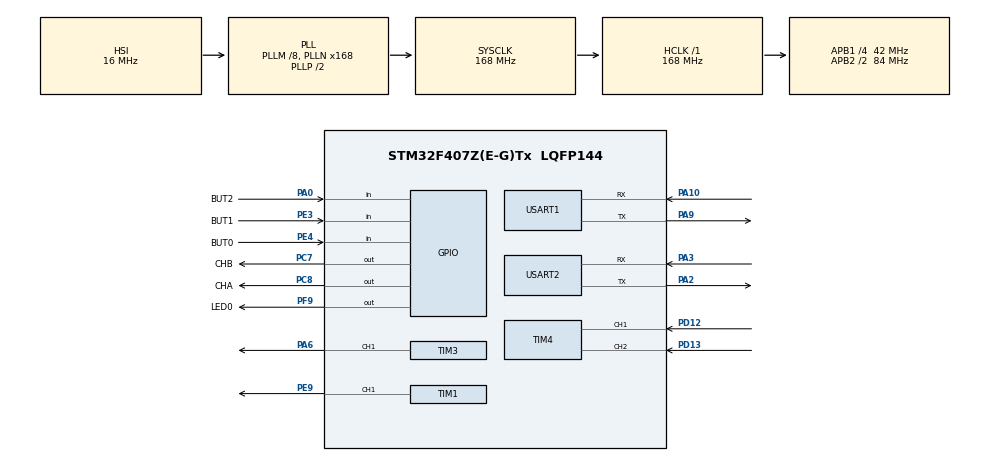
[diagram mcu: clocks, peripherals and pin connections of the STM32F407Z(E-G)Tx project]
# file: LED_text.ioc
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Dma.Request0=USART1_RX
Dma.USART1_RX.0.Direction=DMA_PERIPH_TO_MEMORY
Dma.USART1_RX.0.FIFOMode=DMA_FIFOMODE_DISABLE
Dma.USART1_RX.0.Instance=DMA2_Stream2
Dma.USART1_RX.0.MemDataAlignment=DMA_MDATAALIGN_BYTE
Dma.USART1_RX.0.MemInc=DMA_MINC_ENABLE
Dma.USART1_RX.0.Mode=DMA_CIRCULAR
Dma.USART1_RX.0.PeriphDataAlignment=DMA_PDATAALIGN_BYTE
Dma.USART1_RX.0.PeriphInc=DMA_PINC_DISABLE
Dma.USART1_RX.0.Priority=DMA_PRIORITY_LOW
Mcu.Family=STM32F4
Mcu.Name=STM32F407Z(E-G)Tx
Mcu.Package=LQFP144
NVIC.DMA2_Stream2_IRQn=true\:0\:0\:true\:false\:true\:false\:true
NVIC.PriorityGroup=NVIC_PRIORITYGROUP_4
NVIC.TIM2_IRQn=true\:0\:0\:true\:false\:true\:true\:true
NVIC.TIM4_IRQn=true\:0\:0\:false\:false\:true\:true\:true
NVIC.USART1_IRQn=true\:0\:0\:true\:false\:true\:true\:true
PA0-WKUP.GPIO_Label=BUT2
PA0-WKUP.GPIO_PuPd=GPIO_PULLDOWN
PA0-WKUP.Signal=GPIO_Input
PA10.Mode=Asynchronous
PA10.Signal=USART1_RX
PA13.Mode=Serial_Wire
PA13.Signal=SYS_JTMS-SWDIO
PA14.Mode=Serial_Wire
PA14.Signal=SYS_JTCK-SWCLK
PA2.Mode=Asynchronous
PA2.Signal=USART2_TX
PA3.Mode=Asynchronous
PA3.Signal=USART2_RX
PA6.Signal=S_TIM3_CH1
PA9.Mode=Asynchronous
PA9.Signal=USART1_TX
PC14-OSC32_IN.Mode=LSE-External-Oscillator
PC14-OSC32_IN.Signal=RCC_OSC32_IN
PC15-OSC32_OUT.Mode=LSE-External-Oscillator
PC15-OSC32_OUT.Signal=RCC_OSC32_OUT
PC7.GPIO_Label=CHB
PC7.GPIO_Speed=GPIO_SPEED_FREQ_MEDIUM
PC7.PinState=GPIO_PIN_SET
PC7.Signal=GPIO_Output
PC8.GPIO_Label=CHA
PC8.GPIO_ModeDefaultOutputPP=GPIO_MODE_OUTPUT_PP
PC8.GPIO_Speed=GPIO_SPEED_FREQ_MEDIUM
PC8.PinState=GPIO_PIN_SET
PC8.Signal=GPIO_Output
PD12.Signal=S_TIM4_CH1
PD13.Signal=S_TIM4_CH2
PE3.GPIO_Label=BUT1
PE3.GPIO_PuPd=GPIO_PULLUP
PE3.Signal=GPIO_Input
PE4.GPIO_Label=BUT0
PE4.GPIO_PuPd=GPIO_PULLUP
PE4.Signal=GPIO_Input
PE9.Signal=S_TIM1_CH1
PF9.GPIO_Label=LED0
PF9.GPIO_ModeDefaultOutputPP=GPIO_MODE_OUTPUT_PP
PF9.GPIO_PuPd=GPIO_NOPULL
PF9.GPIO_Speed=GPIO_SPEED_FREQ_MEDIUM
PF9.PinState=GPIO_PIN_SET
PF9.Signal=GPIO_Output
PH0-OSC_IN.Mode=HSE-External-Oscillator
PH0-OSC_IN.Signal=RCC_OSC_IN
PH1-OSC_OUT.Mode=HSE-External-Oscillator
PH1-OSC_OUT.Signal=RCC_OSC_OUT
ProjectManager.HeapSize=0x200
ProjectManager.StackSize=0x400
ProjectManager.TargetToolchain=SW4STM32
RCC.48MHZClocksFreq_Value=84000000
RCC.AHBFreq_Value=168000000
RCC.APB1CLKDivider=RCC_HCLK_DIV4
RCC.APB1Freq_Value=42000000
RCC.APB1TimFreq_Value=84000000
RCC.APB2CLKDivider=RCC_HCLK_DIV2
RCC.APB2Freq_Value=84000000
RCC.APB2TimFreq_Value=168000000
RCC.CortexFreq_Value=168000000
RCC.HCLKFreq_Value=168000000
RCC.HSE_VALUE=25000000
RCC.HSI_VALUE=16000000
RCC.PLLM=8
RCC.PLLN=168
RCC.SYSCLKFreq_VALUE=168000000
RCC.SYSCLKSource=RCC_SYSCLKSOURCE_PLLCLK
RCC.VCOOutputFreq_Value=336000000
SH.S_TIM1_CH1.0=TIM1_CH1,PWM Generation1 CH1
SH.S_TIM3_CH1.0=TIM3_CH1,PWM Generation1 CH1
SH.S_TIM4_CH1.0=TIM4_CH1,Encoder_Interface
SH.S_TIM4_CH2.0=TIM4_CH2,Encoder_Interface
TIM1.AutoReloadPreload=TIM_AUTORELOAD_PRELOAD_DISABLE
TIM1.Channel-PWM\ Generation1\ CH1=TIM_CHANNEL_1
TIM1.Period=99
TIM1.Prescaler=167
TIM2.AutoReloadPreload=TIM_AUTORELOAD_PRELOAD_ENABLE
TIM2.Period=9999
TIM2.Prescaler=167
TIM3.AutoReloadPreload=TIM_AUTORELOAD_PRELOAD_ENABLE
TIM3.Channel-PWM\ Generation1\ CH1=TIM_CHANNEL_1
TIM3.OCPolarity_1=TIM_OCPOLARITY_HIGH
TIM3.Period=19999
TIM3.Prescaler=83
USART1.VirtualMode=VM_ASYNC
USART2.VirtualMode=VM_ASYNC
VP_TIM1_VS_ClockSourceINT.Mode=Internal
VP_TIM2_VS_ClockSourceINT.Mode=Internal
VP_TIM3_VS_ClockSourceINT.Mode=Internal
board=custom

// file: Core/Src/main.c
/* USER CODE BEGIN Header */
/**
  ******************************************************************************
  * @file           : main.c
  * @brief          : Main program body
  ******************************************************************************
  * @attention
  *
  * <h2><center>&copy; Copyright (c) 2021 STMicroelectronics.
  * All rights reserved.</center></h2>
  *
  * This software component is licensed by ST under BSD 3-Clause license,
  * the "License"; You may not use this file except in compliance with the
  * License. You may obtain a copy of the License at:
  *                        opensource.org/licenses/BSD-3-Clause
  *
  ******************************************************************************
  */
/* USER CODE END Header */
#include "main.h"
#include "dma.h"
#include "tim.h"
#include "usart.h"
#include "gpio.h"

/* USER CODE BEGIN Includes */
#include "stdio.h"
#include "math.h"
#include "../MOVE/MOVE.h"
/* USER CODE END Includes */

/* USER CODE BEGIN PD */
#define BUFFER_SIZE_MAX 255 //串口最大接收长度

/* USER CODE END PD */

/* USER CODE BEGIN PM */
uint8_t receive_buff[BUFFER_SIZE_MAX];
uint8_t mode = 0;//接收模式(手机1或者野火0)
uint8_t data_buff[6];
uint8_t fire_buff[32];
float PID_Kp = 0,PID_Kd = 0,PID_Ki = 0;
struct  Move_cfg move_cfg;

/* USER CODE END PM */

/* USER CODE BEGIN PV */
//uint32_t adc_ch1[3];
//uint16_t adc_buff[3];

uint8_t MotorVal;  //电机速度
uint8_t Mg995Val;  //舵机位置
int MotorSpeed;  // 电机当前速度数值，从编码器中获取
/* USER CODE END PV */

void SystemClock_Config(void);

/* USER CODE BEGIN 0 */
//void Servo_init()
//{
//
//}

void mg995_Control(uint16_t val)
{

    uint16_t temp;
    temp = 501 +val*20;//500~2500 ~= 2~84
    if(val>=0)
    __HAL_TIM_SET_COMPARE(&htim3, TIM_CHANNEL_1, temp);
}

/* USER CODE END 0 */

int main(void)
{

  /* MCU Configuration--------------------------------------------------------*/

  /* Reset of all peripherals, Initializes the Flash interface and the Systick. */
  HAL_Init();

  /* Configure the system clock */
  SystemClock_Config();

  /* USER CODE BEGIN SysInit */
  MX_DMA_Init();
  /* USER CODE END SysInit */

  /* Initialize all configured peripherals */
  MX_GPIO_Init();
  MX_USART1_UART_Init();
  MX_TIM1_Init();
  MX_TIM2_Init();
  MX_DMA_Init();
  MX_TIM4_Init();
  MX_TIM3_Init();
  MX_USART2_UART_Init();
  /* USER CODE BEGIN 2 */
    uint8_t But_flag = 0;

    __HAL_UART_ENABLE_IT(&huart1, UART_IT_IDLE); // 使能串口空闲中断
    HAL_UART_Receive_DMA(&huart1, (uint8_t *) receive_buff, BUFFER_SIZE_MAX);//开始DMA传输 每次255字节数据

    //HAL_ADC_Start_DMA(&hadc1,adc_ch1,3);
    HAL_TIM_PWM_Start(&htim1, TIM_CHANNEL_1);        // 开启PWM 1         使用APB2(168M)
    HAL_TIM_PWM_Start(&htim1, TIM_CHANNEL_2);        // 开启PWM 2         使用APB2(168M)
    HAL_TIM_Encoder_Start(&htim4, TIM_CHANNEL_1);   //  开启编码器A        使用APB1(84M)
    HAL_TIM_Encoder_Start(&htim4, TIM_CHANNEL_2);   // 开启编码器B         使用APB1(84M)
    HAL_TIM_Base_Start_IT(&htim2);                  // 使能定时器2中断      使用APB1(84M)
    HAL_TIM_PWM_Start(&htim3,TIM_CHANNEL_1);        //使能定时器3中断       使用APB1(84M)
    __HAL_TIM_SET_COMPARE(&htim1, TIM_CHANNEL_1, 50);
    __HAL_TIM_SET_COMPARE(&htim3, TIM_CHANNEL_1, 0);
//    HAL_ADC_Start(&hadc1);
//    HAL_ADC_PollForConversion(&hadc1,50);
  /* USER CODE END 2 */

  /* Infinite loop */
  /* USER CODE BEGIN WHILE */
    MotorVal = 50;
    mg995_Control(50);
    move_cfg.err_log = 255;
    while (1) {
    /* USER CODE END WHILE */

    /* USER CODE BEGIN 3 */
    if(mode)/*mode == 1     手机端*/
    {
        move_cfg = Move_Set(data_buff, move_cfg);
        if(move_cfg.power_set)
            if (!move_cfg.err_log) //如果正常
            {
                if (move_cfg.motor_set != MotorVal)
                    MotorVal = move_cfg.motor_set;
                if (move_cfg.mg995_set != Mg995Val) {
                    Mg995Val = move_cfg.mg995_set;
                    mg995_Control(Mg995Val);
                }
            }
        Ble_send(move_cfg);
    }//mode==0,野火端
    else{
        move_cfg = fire_Set(fire_buff,move_cfg);
        if(!move_cfg.err_log)//如果正常
        {
            if (move_cfg.motor_set != MotorVal)
                MotorVal = move_cfg.motor_set;
            if (move_cfg.mg995_set != Mg995Val) {
                Mg995Val = move_cfg.mg995_set;
                mg995_Control(Mg995Val);
            }
        }
        fire_send(move_cfg,1);
    }

    //else if(1);//停止调试
//    else switch (move_cfg.err_log) {
//            case 1: printf("无数据\\n");break;
//            case 2: printf("未选择设备\n");break;
//        }
    }
  /* USER CODE END 3 */
}

void SystemClock_Config(void)
{
  RCC_OscInitTypeDef RCC_OscInitStruct = {0};
  RCC_ClkInitTypeDef RCC_ClkInitStruct = {0};

  /** Configure the main internal regulator output voltage
  */
  __HAL_RCC_PWR_CLK_ENABLE();
  __HAL_PWR_VOLTAGESCALING_CONFIG(PWR_REGULATOR_VOLTAGE_SCALE1);
  /** Initializes the RCC Oscillators according to the specified parameters
  * in the RCC_OscInitTypeDef structure.
  */
  RCC_OscInitStruct.OscillatorType = RCC_OSCILLATORTYPE_HSI;
  RCC_OscInitStruct.HSIState = RCC_HSI_ON;
  RCC_OscInitStruct.HSICalibrationValue = RCC_HSICALIBRATION_DEFAULT;
  RCC_OscInitStruct.PLL.PLLState = RCC_PLL_ON;
  RCC_OscInitStruct.PLL.PLLSource = RCC_PLLSOURCE_HSI;
  RCC_OscInitStruct.PLL.PLLM = 8;
  RCC_OscInitStruct.PLL.PLLN = 168;
  RCC_OscInitStruct.PLL.PLLP = RCC_PLLP_DIV2;
  RCC_OscInitStruct.PLL.PLLQ = 4;
  if (HAL_RCC_OscConfig(&RCC_OscInitStruct) != HAL_OK)
  {
    Error_Handler();
  }
  /** Initializes the CPU, AHB and APB buses clocks
  */
  RCC_ClkInitStruct.ClockType = RCC_CLOCKTYPE_HCLK|RCC_CLOCKTYPE_SYSCLK
                              |RCC_CLOCKTYPE_PCLK1|RCC_CLOCKTYPE_PCLK2;
  RCC_ClkInitStruct.SYSCLKSource = RCC_SYSCLKSOURCE_PLLCLK;
  RCC_ClkInitStruct.AHBCLKDivider = RCC_SYSCLK_DIV1;
  RCC_ClkInitStruct.APB1CLKDivider = RCC_HCLK_DIV4;
  RCC_ClkInitStruct.APB2CLKDivider = RCC_HCLK_DIV2;

  if (HAL_RCC_ClockConfig(&RCC_ClkInitStruct, FLASH_LATENCY_5) != HAL_OK)
  {
    Error_Handler();
  }
}

/* USER CODE BEGIN 4 */
void USAR_UART_IDLECallback(UART_HandleTypeDef *huart)
{
    HAL_UART_DMAStop(&huart1);//停止本次DMA传输
    uint8_t data_length = BUFFER_SIZE_MAX - __HAL_DMA_GET_COUNTER(&hdma_usart1_rx);   //计算接收到的数据长度
    uint8_t Ble_len = 23;
    for (int i = 0; i < data_length; i++)
    {
        //手机蓝牙调试器接收模式
        if((data_length >= Ble_len-1) && (receive_buff[i] == 0x5A)){
            if( (receive_buff[i+1-Ble_len]) == 0xA5){
                uint8_t jiaoyan = 0;//校验
                for (int j = i-2; j > i+1-Ble_len ; j--) {
                    jiaoyan += receive_buff[j];
                }
                if(receive_buff[i-1] == jiaoyan)
                {
                    for (int j = 0; j < Ble_len; j++){
                        data_buff[j] = receive_buff[j];
                    }
                    mode = 1;
                }
            }
        }
        //野火上位机接收模式
        if(receive_buff[i]==0x53 && receive_buff[i+1]==0x5A)
            //if(receive_buff[i+2]==0x48 && receive_buff[i+3]==0x59)
            {
                uint8_t jiaoyan = 0x4E;//校验
                ////接收大小////
                uint32_t size = data_length;
                memcpy(&size,&receive_buff[5],4);
                ////接收大小////
                for (int j = 4; j < size-1; j++) {
                    jiaoyan += receive_buff[j];
                }
                if(jiaoyan == receive_buff[size-1]){
                    for (int j = i; j < size+i; j++) {
                        fire_buff[j] = receive_buff[j];
                    }
                }
                mode = 0;
            }
    }
    HAL_UART_Transmit(&huart1,fire_buff,data_length,16);
    memset(receive_buff,0,BUFFER_SIZE_MAX);
    HAL_UART_Receive_DMA(&huart1, (uint8_t *)receive_buff, 255);
}

void HAL_TIM_PeriodElapsedCallback(TIM_HandleTypeDef *htim) {
    static unsigned char i = 0;
    if (htim == (&htim2))
    {
        MotorSpeed = (int16_t) __HAL_TIM_GET_COUNTER(&htim4);
        //MotorSpeed = __HAL_TIM_GET_FLAG(&htim4,1);
        // TIM4计数器获得电机脉冲，该电机在10ms采样的脉冲/18则为实际
        __HAL_TIM_SET_COUNTER(&htim4, 0);  // 计数器清零

        //2.将占空比导入至电机控制函数

        if (MotorVal > 99)
            MotorVal = 100;
        __HAL_TIM_SET_COMPARE(&htim1, TIM_CHANNEL_1, MotorVal);
        MotorVal = MotorVal; // 占空比（按最高100%计算，串口打印）
        i++;
        if (i > 100)
        {
            HAL_GPIO_TogglePin(LED0_GPIO_Port, LED0_Pin);
            printf("\nEncoder = %d\tmoto = %d%c \tmode = %d\n", MotorSpeed, MotorVal, '%',mode);
            for (int j = 0; j < 11; j++) {
                printf("%x ",fire_buff[j]);
            }
            printf("\n");
            printf("P = %f\n",move_cfg.P);
            printf("I = %f\n",move_cfg.I);
            printf("D = %f\n",move_cfg.D);
            printf("target = %ld\n",move_cfg.target              );  /*目标*/
            printf("motor_speed = %ld\n",move_cfg.motor_speed    );  /*电机速度*/
            printf("mg995_angle = %ld\n",move_cfg.mg995_angle    );  /*电机速度*/
            printf("period = %ld\n",move_cfg.period              );  /*周期*/
            printf("power_set = %d\n",move_cfg.power_set        );  /*总开关*/
            printf("mg995_set = %d\n",move_cfg.mg995_set);
            printf("motor_set = %d\n",move_cfg.motor_set);
            printf("err_log = %d\n",move_cfg.err_log);
            i = 0;
        }
    }
}

//void HAL_ADC_ConvCpltCallback(ADC_HandleTypeDef *hadc)
//{
//    if(hadc == (&hadc1))
//    {
//        HAL_ADC_Stop_DMA(&hadc1);
//        adc_buff[0] = adc_ch1[0];
//        adc_buff[1] = adc_ch1[1];
//        adc_buff[2] = adc_ch1[2];
//        HAL_ADC_Start_DMA(&hadc1,adc_ch1,3);
//    }
//}

/* USER CODE END 4 */

void Error_Handler(void)
{
    __disable_irq();
    while (1) {
    }
}

/************************ (C) COPYRIGHT STMicroelectronics *****END OF FILE****/
